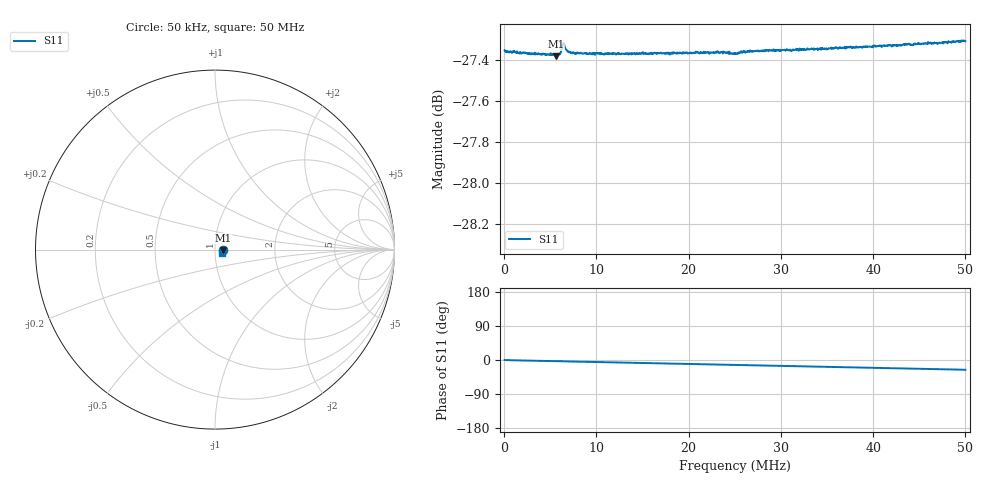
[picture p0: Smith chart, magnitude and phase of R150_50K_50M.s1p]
# HZ S RI R 50
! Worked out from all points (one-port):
!   1010 points, 50 kHz to 50 MHz, reference 50 ohm
!   lowest |S11| = -27.4 dB at 5.594 MHz (marker M1), VSWR 1.09, Z = 54.5 - j0.251 ohm
!   |S11| at or under -10 dB: start of sweep to end of sweep
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50000  0.0429 9.03e-05
347024  0.0428 -0.000282
1139088  0.0428 -0.000634
1683632  0.0428 -0.000842
5594448  0.0427 -0.0023
5940976  0.0427 -0.00241
6337008  0.043 -0.00244
6535024  0.0429 -0.00263
6931056  0.0428 -0.00282
7129072  0.0427 -0.00295
7624112  0.0427 -0.00312
1.257451e7  0.0425 -0.00497
1.881202e7  0.0422 -0.00731
2.371291e7  0.0418 -0.00915
2.504952e7  0.0417 -0.00963
2.584158e7  0.0417 -0.00991
2.658414e7  0.0416 -0.0102
3.039595e7  0.0413 -0.0116
3.128702e7  0.0412 -0.012
3.311867e7  0.041 -0.0126
3.485131e7  0.0408 -0.0133
3.752453e7  0.0405 -0.0142
3.975221e7  0.0402 -0.015
4.376203e7  0.0397 -0.0165
4.420757e7  0.0397 -0.0167
4.603922e7  0.0394 -0.0173
4.71283e7  0.0393 -0.0177
4.999954e7  0.0388 -0.0187
